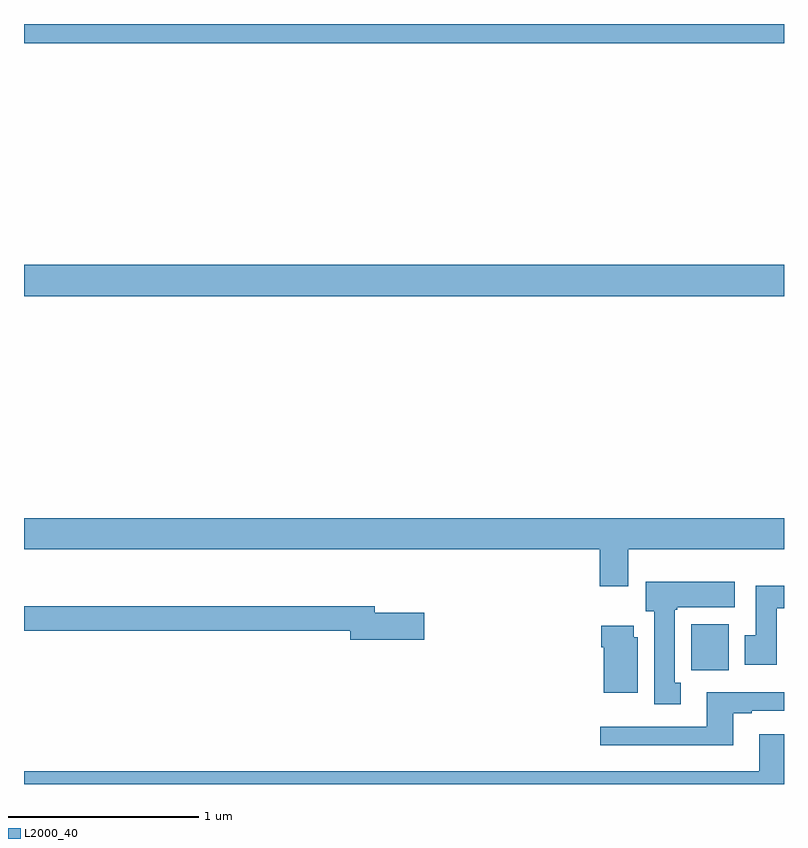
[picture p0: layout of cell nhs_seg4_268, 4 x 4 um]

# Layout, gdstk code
import gdstk
lib = gdstk.Library(unit=1e-6, precision=1e-09)
def R(c, l, rs):  # rectangles x0, y0, x1, y1
    for r in rs: c.add(gdstk.rectangle(r[:2], r[2:], *l))
def P(c, l, *ps):  # polygons
    for p in ps: c.add(gdstk.Polygon(p, *l))
L2000_40 = (2000, 40)

nhs_seg4_268 = lib.new_cell('nhs_seg4_268')
R(nhs_seg4_268, L2000_40, [(126.512,813.5,126.709,813.742), (123,815.468,127,815.632), (123,816.8,127,816.9)])
P(nhs_seg4_268, L2000_40, [(126.181,814.136),(127,814.136),(127,814.3),(123,814.3),(123,814.136),(126.029,814.136),(126.029,813.942),(126.181,813.942)],
  [(126.457,813.434),(126.424,813.434),(126.424,813.817),(126.438,813.817),(126.438,813.83),(126.742,813.83),(126.742,813.964),(126.272,813.964),(126.272,813.81),(126.317,813.81),(126.317,813.321),(126.457,813.321)],
  [(126.961,813.824),(127,813.824),(127,813.943),(126.851,813.943),(126.851,813.684),(126.794,813.684),(126.794,813.528),(126.961,813.528)],
  [(125.107,813.801),(124.846,813.801),(124.846,813.835),(123,813.835),(123,813.706),(124.718,813.706),(124.718,813.659),(125.107,813.659)],
  [(126.229,813.672),(126.208,813.672),(126.208,813.733),(126.038,813.733),(126.038,813.62),(126.05,813.62),(126.05,813.38),(126.229,813.38)],
  [(126.733,813.273),(126.829,813.273),(126.829,813.285),(127,813.285),(127,813.382),(126.593,813.382),(126.593,813.201),(126.033,813.201),(126.033,813.104),(126.733,813.104)],
  [(127,813.163),(126.869,813.163),(126.869,812.968),(123,812.968),(123,812.9),(127,812.9)])

lib.write_gds('nhs_seg4_268.gds')
